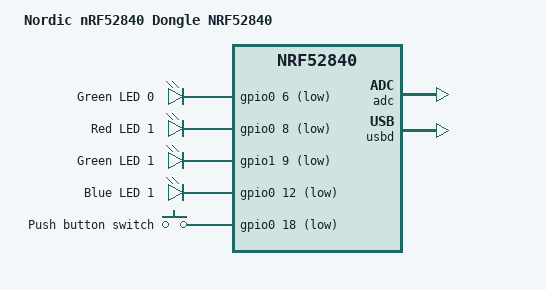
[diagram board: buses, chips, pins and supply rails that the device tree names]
/*
 * Copyright (c) 2018-2023 Nordic Semiconductor ASA
 * Copyright (c) 2017 Linaro Limited
 *
 * SPDX-License-Identifier: Apache-2.0
 */

/dts-v1/;
#include <nordic/nrf52840_qiaa.dtsi>
#include <zephyr/dt-bindings/input/input-event-codes.h>

/ {
  model = "Nordic nRF52840 Dongle NRF52840";
  compatible = "nordic,nrf52840-dongle-nrf52840";

  chosen {
    zephyr,sram = &sram0;
    zephyr,flash = &flash0;
    zephyr,code-partition = &code_partition;
  };

  leds {
    compatible = "gpio-leds";
    led0_green: led_0 {
      gpios = <&gpio0 6 GPIO_ACTIVE_LOW>;
      label = "Green LED 0";
    };
    led1_red: led_1 {
      gpios = <&gpio0 8 GPIO_ACTIVE_LOW>;
      label = "Red LED 1";
    };
    led1_green: led_2 {
      gpios = <&gpio1 9 GPIO_ACTIVE_LOW>;
      label = "Green LED 1";
    };
    led1_blue: led_3 {
      gpios = <&gpio0 12 GPIO_ACTIVE_LOW>;
      label = "Blue LED 1";
    };
  };

  buttons {
    compatible = "gpio-keys";
    button0: button_0 {
      gpios = <&gpio0 18 (GPIO_PULL_UP | GPIO_ACTIVE_LOW)>;
      label = "Push button switch";
      zephyr,code = <INPUT_KEY_0>;
    };
  };
  
  /* These aliases are provided for compatibility with samples */
  aliases {
    sw0 = &button0;
    led0 = &led0_green;
    led1 = &led1_red;
    led2 = &led1_green;
    led3 = &led1_blue;
    led0-green = &led0_green;
    led1-red   = &led1_red;
    led1-green = &led1_green;
    led1-blue  = &led1_blue;
    watchdog0 = &wdt0;
  };
};

&adc {
  status = "okay";
};

&gpiote {
  status = "okay";
};

&gpio0 {
  status = "okay";
};

&gpio1 {
  status = "okay";
};

zephyr_udc0: &usbd {
  status = "okay";
};

&flash0 {
        /*
        * For more information, see:
        * http://docs.zephyrproject.org/latest/devices/dts/flash_partitions.html
        */
        partitions {
                compatible = "fixed-partitions";
                #address-cells = <1>;
                #size-cells = <1>;

                sd_partition: partition@0 {
                        label = "mbr";
                        reg = <0x00000000 0x00001000>;
                };
                code_partition: partition@1000 {
                        label = "code_partition";
                        reg = <0x00001000 0x000d3000>;
                };

                /*
                * The flash starting at 0x000ec000 and ending at
                * 0x000f3fff is reserved for use by the application.
                */

                /*
                * Storage partition will be used by FCB/LittleFS/NVS
                * if enabled.
                */
                storage_partition: partition@ec000 {
                        label = "storage";
                        reg = <0x000ec000 0x00008000>;
                };

                boot_partition: partition@f4000 {
                       label = "adafruit_boot";
                       reg = <0x000f4000 0x0000c000>;
               };
       };
};
